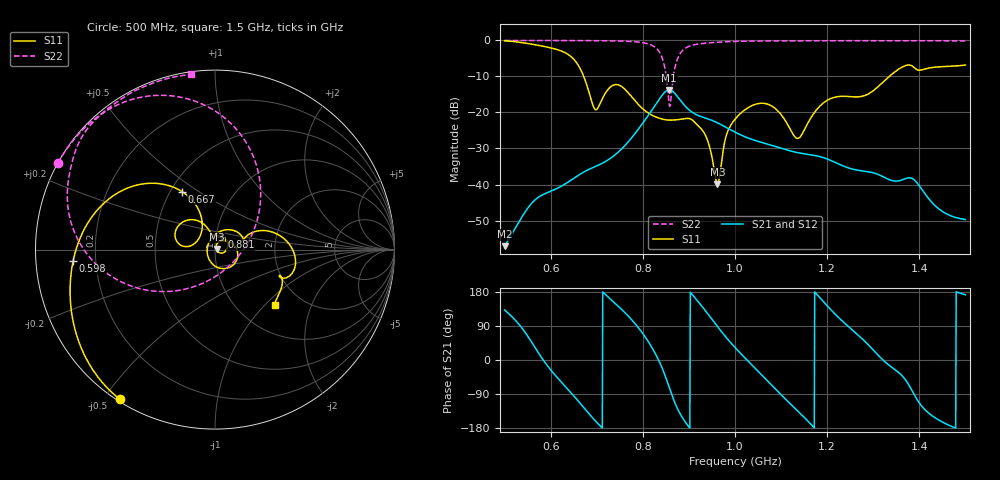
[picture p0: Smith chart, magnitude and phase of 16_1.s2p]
! TOUCHSTONE file generated by CST MICROWAVE STUDIO
! Date and time: Mon Oct 26 12:06:47 2020
! Project name: Scenario_1_Circular_Tissue_out_of_Line_v2.cst
! Parameters = {dy1=-86.5; L_HA=400; MT=2.54; Rad_Dielectric=30; Rad_Lower=7.3; Rad_Upper=30; a_HA=580; a_WG=246; b_HA=500; b_WG=121; c_HA=0; c_WG=187; d_feed=85; dx1=173; h_feed=15; h_lower=18; h_upper=40}
! Header version: 2018
! Port assignment regex: !\s*Touchstone port\s*([0-9]+)\s*=\s*(CST MWS port|CST DS port)\s*([0-9]+|Zmin|Zmax)\s*\(\"(.*)\"\)(\s*mode\s*([0-9]+))?.*
! Touchstone port assignment:
! Touchstone port 1 = CST MWS port 1 ("")
! Touchstone port 2 = CST MWS port 2 ("")
# GHz S DB R 50
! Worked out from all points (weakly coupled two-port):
!   1003 points, 500 MHz to 1.5 GHz, reference 50 ohm
!   highest |S21| = -13.72 dB at 857 MHz (marker M1); lowest = -57.1 dB at 500 MHz (marker M2)
!   lowest |S11| = -40.0 dB at 962 MHz (marker M3), VSWR 1.02, Z = 51 + j0.289 ohm
!   |S11| at or under -10 dB: 671.7 MHz to 1.335 GHz (663.1 MHz wide, 66.1 % of centre)
!   |S22| runs from -18.3 to 0.0 dB; largest |S21 - S12| = 3.7e-06
!   S11 on the Smith chart (normalised r, x): 500 MHz: 0.01, -0.55; 598 MHz: 0.12, -0.04; 667 MHz: 0.57, +0.43; 881 MHz: 1.06, +0.15; 1.5 GHz: 1.46, -1.15
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0.5  -0.11 -122.5  -57.12 132.1  -57.12 132.1  -0.01 151.1
0.598  -2.01 -175.3  -41.99 -23.0  -41.98 -23.0  -0.02 144.2
0.643  -4.37 146.2  -38.89 -84.8  -38.89 -84.8  -0.03 140.6
0.667  -8.62 119.5  -36.89 -118.9  -36.89 -118.9  -0.04 138.3
0.697  -19.21 143.5  -34.99 -160.8  -34.99 -160.8  -0.06 135.2
0.745  -12.28 146.7  -31.19 143.7  -31.19 143.7  -0.15 128.4
0.799  -18.87 107.3  -23.11 71.4  -23.11 71.3  -0.60 113.5
0.834  -21.52 98.3  -16.63 0.3  -16.63 0.3  -2.87 84.0
0.847  -21.97 92.1  -14.44 -37.1  -14.44 -37.1  -7.15 54.8
0.857  -22.12 86.0  -13.72 -71.5  -13.72 -71.5  -17.50 -18.2
0.867  -22.09 77.9  -14.38 -105.4  -14.38 -105.4  -9.33 -137.1
0.881  -21.91 63.3  -16.57 -142.3  -16.57 -142.3  -3.64 -172.0
0.932  -25.43 -16.0  -21.39 136.0  -21.39 136.0  -0.81 153.1
0.962  -39.98 16.4  -22.87 88.2  -22.87 88.2  -0.50 146.4
0.981  -26.42 62.7  -24.15 59.4  -24.15 59.4  -0.36 143.2
1  -21.89 36.2  -25.46 33.0  -25.46 33.0  -0.27 140.4
1.07  -17.66 -44.8  -28.75 -54.3  -28.75 -54.3  -0.14 132.3
1.136  -27.23 173.0  -31.16 -134.3  -31.16 -134.3  -0.12 126.6
1.167  -21.01 86.2  -31.80 -172.4  -31.80 -172.4  -0.11 124.2
1.334  -10.09 19.3  -38.61 -13.5  -38.61 -13.5  -0.09 111.5
1.385  -7.14 -19.6  -38.35 -82.8  -38.35 -82.8  -0.09 107.5
1.5  -6.84 -43.0  -49.73 172.1  -49.72 172.1  -0.13 97.8
